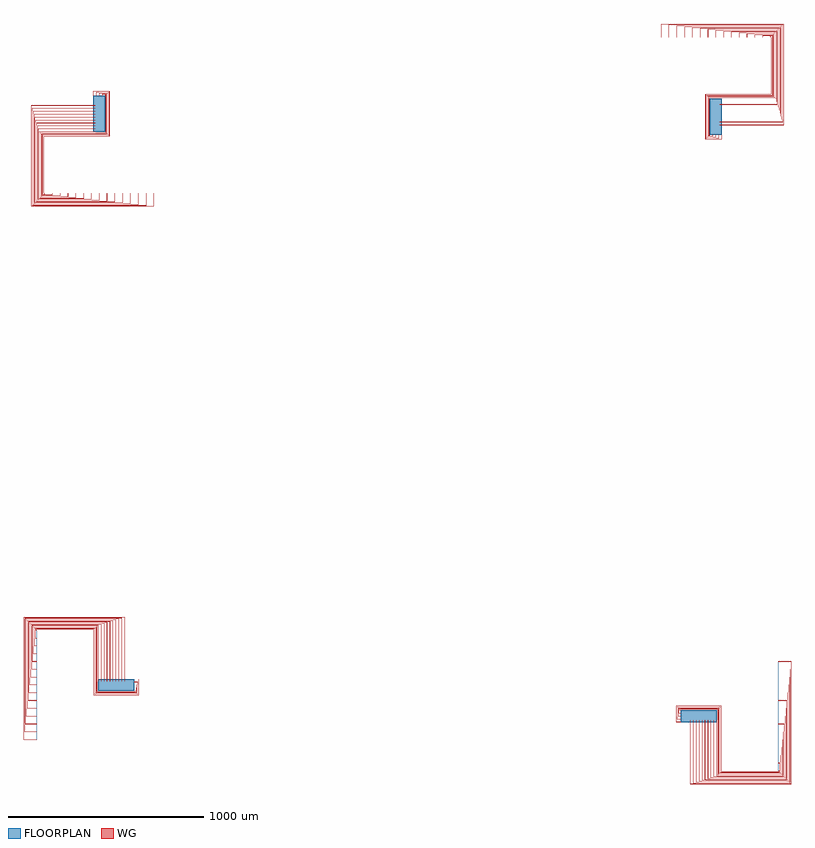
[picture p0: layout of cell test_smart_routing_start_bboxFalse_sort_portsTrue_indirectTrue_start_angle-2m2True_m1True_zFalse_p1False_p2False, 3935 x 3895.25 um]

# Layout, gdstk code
import gdstk
lib = gdstk.Library(unit=1e-6, precision=1e-09)
def R(c, l, rs):  # rectangles x0, y0, x1, y1
    for r in rs: c.add(gdstk.rectangle(r[:2], r[2:], *l))
def P(c, l, *ps):  # polygons
    for p in ps: c.add(gdstk.Polygon(p, *l))
WG = (1, 0)
FLOORPLAN = (10, 0)

test_smart_routing_start = lib.new_cell('test_smart_routing_start_bboxFalse_sort_portsTrue_indirectTrue_start_angle-2m2True_m1True_zFalse_p1False_p2False')
P(test_smart_routing_start, WG, [(-427.75,2532.5),(-427.75,3050.25),(-100,3050.25),(-100,3049.75),(-427.25,3049.75),(-427.25,2533),(199.75,2533),(199.75,2600),(200.25,2600),(200.25,2532.5)],
  [(-423.25,2537),(-423.25,3035.25),(-100,3035.25),(-100,3034.75),(-422.75,3034.75),(-422.75,2537.5),(159.75,2537.5),(159.75,2600),(160.25,2600),(160.25,2537)],
  [(-418.75,2541.5),(-418.75,3020.25),(-100,3020.25),(-100,3019.75),(-418.25,3019.75),(-418.25,2542),(119.75,2542),(119.75,2600),(120.25,2600),(120.25,2541.5)],
  [(-414.25,2546),(-414.25,3005.25),(-100,3005.25),(-100,3004.75),(-413.75,3004.75),(-413.75,2546.5),(79.75,2546.5),(79.75,2600),(80.25,2600),(80.25,2546)],
  [(-409.75,2550.5),(-409.75,2990.25),(-100,2990.25),(-100,2989.75),(-409.25,2989.75),(-409.25,2551),(39.75,2551),(39.75,2600),(40.25,2600),(40.25,2550.5)],
  [(-405.25,2555),(-405.25,2975.25),(-100,2975.25),(-100,2974.75),(-404.75,2974.75),(-404.75,2555.5),(-0.25,2555.5),(-0.25,2600),(0.25,2600),(0.25,2555)],
  [(-400.75,2559.5),(-400.75,2960.25),(-100,2960.25),(-100,2959.75),(-400.25,2959.75),(-400.25,2560),(-40.25,2560),(-40.25,2600),(-39.75,2600),(-39.75,2559.5)],
  [(-396.25,2564),(-396.25,2945.25),(-100,2945.25),(-100,2944.75),(-395.75,2944.75),(-395.75,2564.5),(-80.25,2564.5),(-80.25,2600),(-79.75,2600),(-79.75,2564)],
  [(-391.75,2568.5),(-391.75,2930.25),(-100,2930.25),(-100,2929.75),(-391.25,2929.75),(-391.25,2569),(-120.25,2569),(-120.25,2600),(-119.75,2600),(-119.75,2568.5)],
  [(-387.25,2573),(-387.25,2915.25),(-100,2915.25),(-100,2914.75),(-386.75,2914.75),(-386.75,2573.5),(-160.25,2573.5),(-160.25,2600),(-159.75,2600),(-159.75,2573)],
  [(-382.75,2577.5),(-382.75,2910.75),(-45.75,2910.75),(-45.75,3104),(-49.75,3104),(-49.75,3100),(-50.25,3100),(-50.25,3104.5),(-45.25,3104.5),(-45.25,2910.25),(-382.25,2910.25),(-382.25,2578),(-200.25,2578),(-200.25,2600),(-199.75,2600),(-199.75,2577.5)],
  [(-378.25,2582),(-378.25,2906.25),(-41.25,2906.25),(-41.25,3108.5),(-64.75,3108.5),(-64.75,3100),(-65.25,3100),(-65.25,3109),(-40.75,3109),(-40.75,2905.75),(-377.75,2905.75),(-377.75,2582.5),(-240.25,2582.5),(-240.25,2600),(-239.75,2600),(-239.75,2582)],
  [(-373.75,2586.5),(-373.75,2901.75),(-36.75,2901.75),(-36.75,3113),(-79.75,3113),(-79.75,3100),(-80.25,3100),(-80.25,3113.5),(-36.25,3113.5),(-36.25,2901.25),(-373.25,2901.25),(-373.25,2587),(-280.25,2587),(-280.25,2600),(-279.75,2600),(-279.75,2586.5)],
  [(-369.25,2591),(-369.25,2897.25),(-32.25,2897.25),(-32.25,3117.5),(-94.75,3117.5),(-94.75,3100),(-95.25,3100),(-95.25,3118),(-31.75,3118),(-31.75,2896.75),(-368.75,2896.75),(-368.75,2591.5),(-320.25,2591.5),(-320.25,2600),(-319.75,2600),(-319.75,2591)],
  [(-364.75,2595.5),(-364.75,2892.75),(-27.75,2892.75),(-27.75,3122),(-109.75,3122),(-109.75,3100),(-110.25,3100),(-110.25,3122.5),(-27.25,3122.5),(-27.25,2892.25),(-364.25,2892.25),(-364.25,2596),(-360.25,2596),(-360.25,2600),(-359.75,2600),(-359.75,2595.5)],
  [(-467.5,-200.25),(-467.5,427.75),(50.25,427.75),(50.25,100),(49.75,100),(49.75,427.25),(-467,427.25),(-467,-199.75),(-400,-199.75),(-400,-200.25)],
  [(-463,-160.25),(-463,423.25),(35.25,423.25),(35.25,100),(34.75,100),(34.75,422.75),(-462.5,422.75),(-462.5,-159.75),(-400,-159.75),(-400,-160.25)],
  [(-458.5,-120.25),(-458.5,418.75),(20.25,418.75),(20.25,100),(19.75,100),(19.75,418.25),(-458,418.25),(-458,-119.75),(-400,-119.75),(-400,-120.25)],
  [(-454,-80.25),(-454,414.25),(5.25,414.25),(5.25,100),(4.75,100),(4.75,413.75),(-453.5,413.75),(-453.5,-79.75),(-400,-79.75),(-400,-80.25)],
  [(-449.5,-40.25),(-449.5,409.75),(-9.75,409.75),(-9.75,100),(-10.25,100),(-10.25,409.25),(-449,409.25),(-449,-39.75),(-400,-39.75),(-400,-40.25)],
  [(-445,-0.25),(-445,405.25),(-24.75,405.25),(-24.75,100),(-25.25,100),(-25.25,404.75),(-444.5,404.75),(-444.5,0.25),(-400,0.25),(-400,-0.25)],
  [(-440.5,39.75),(-440.5,400.75),(-39.75,400.75),(-39.75,100),(-40.25,100),(-40.25,400.25),(-440,400.25),(-440,40.25),(-400,40.25),(-400,39.75)],
  [(-436,79.75),(-436,396.25),(-54.75,396.25),(-54.75,100),(-55.25,100),(-55.25,395.75),(-435.5,395.75),(-435.5,80.25),(-400,80.25),(-400,79.75)],
  [(-70.25,100),(-70.25,391.25),(-431,391.25),(-431,120.25),(-400,120.25),(-400,119.75),(-431.5,119.75),(-431.5,391.75),(-69.75,391.75),(-69.75,100)],
  [(-85.25,100),(-85.25,386.75),(-426.5,386.75),(-426.5,160.25),(-400,160.25),(-400,159.75),(-427,159.75),(-427,387.25),(-84.75,387.25),(-84.75,100)],
  [(-89.75,45.25),(-89.75,382.25),(-422,382.25),(-422,200.25),(-400,200.25),(-400,199.75),(-422.5,199.75),(-422.5,382.75),(-89.25,382.75),(-89.25,45.75),(104,45.75),(104,49.75),(100,49.75),(100,50.25),(104.5,50.25),(104.5,45.25)],
  [(-94.25,40.75),(-94.25,377.75),(-417.5,377.75),(-417.5,240.25),(-400,240.25),(-400,239.75),(-418,239.75),(-418,378.25),(-93.75,378.25),(-93.75,41.25),(108.5,41.25),(108.5,64.75),(100,64.75),(100,65.25),(109,65.25),(109,40.75)],
  [(-98.75,36.25),(-98.75,373.25),(-413,373.25),(-413,280.25),(-400,280.25),(-400,279.75),(-413.5,279.75),(-413.5,373.75),(-98.25,373.75),(-98.25,36.75),(113,36.75),(113,79.75),(100,79.75),(100,80.25),(113.5,80.25),(113.5,36.25)],
  [(-103.25,31.75),(-103.25,368.75),(-408.5,368.75),(-408.5,320.25),(-400,320.25),(-400,319.75),(-409,319.75),(-409,369.25),(-102.75,369.25),(-102.75,32.25),(117.5,32.25),(117.5,94.75),(100,94.75),(100,95.25),(118,95.25),(118,31.75)],
  [(-107.75,27.25),(-107.75,364.25),(-404,364.25),(-404,360.25),(-400,360.25),(-400,359.75),(-404.5,359.75),(-404.5,364.75),(-107.25,364.75),(-107.25,27.75),(122,27.75),(122,109.75),(100,109.75),(100,110.25),(122.5,110.25),(122.5,27.25)],
  [(2949.75,-427.75),(2949.75,-100),(2950.25,-100),(2950.25,-427.25),(3467,-427.25),(3467,199.75),(3400,199.75),(3400,200.25),(3467.5,200.25),(3467.5,-427.75)],
  [(2964.75,-423.25),(2964.75,-100),(2965.25,-100),(2965.25,-422.75),(3462.5,-422.75),(3462.5,159.75),(3400,159.75),(3400,160.25),(3463,160.25),(3463,-423.25)],
  [(2979.75,-418.75),(2979.75,-100),(2980.25,-100),(2980.25,-418.25),(3458,-418.25),(3458,119.75),(3400,119.75),(3400,120.25),(3458.5,120.25),(3458.5,-418.75)],
  [(2994.75,-414.25),(2994.75,-100),(2995.25,-100),(2995.25,-413.75),(3453.5,-413.75),(3453.5,79.75),(3400,79.75),(3400,80.25),(3454,80.25),(3454,-414.25)],
  [(3009.75,-409.75),(3009.75,-100),(3010.25,-100),(3010.25,-409.25),(3449,-409.25),(3449,39.75),(3400,39.75),(3400,40.25),(3449.5,40.25),(3449.5,-409.75)],
  [(3024.75,-405.25),(3024.75,-100),(3025.25,-100),(3025.25,-404.75),(3444.5,-404.75),(3444.5,-0.25),(3400,-0.25),(3400,0.25),(3445,0.25),(3445,-405.25)],
  [(3039.75,-400.75),(3039.75,-100),(3040.25,-100),(3040.25,-400.25),(3440,-400.25),(3440,-40.25),(3400,-40.25),(3400,-39.75),(3440.5,-39.75),(3440.5,-400.75)],
  [(3054.75,-396.25),(3054.75,-100),(3055.25,-100),(3055.25,-395.75),(3435.5,-395.75),(3435.5,-80.25),(3400,-80.25),(3400,-79.75),(3436,-79.75),(3436,-396.25)],
  [(3069.75,-391.75),(3069.75,-100),(3070.25,-100),(3070.25,-391.25),(3431,-391.25),(3431,-120.25),(3400,-120.25),(3400,-119.75),(3431.5,-119.75),(3431.5,-391.75)],
  [(3084.75,-387.25),(3084.75,-100),(3085.25,-100),(3085.25,-386.75),(3426.5,-386.75),(3426.5,-160.25),(3400,-160.25),(3400,-159.75),(3427,-159.75),(3427,-387.25)],
  [(3089.25,-382.75),(3089.25,-45.75),(2896,-45.75),(2896,-49.75),(2900,-49.75),(2900,-50.25),(2895.5,-50.25),(2895.5,-45.25),(3089.75,-45.25),(3089.75,-382.25),(3422,-382.25),(3422,-200.25),(3400,-200.25),(3400,-199.75),(3422.5,-199.75),(3422.5,-382.75)],
  [(3093.75,-378.25),(3093.75,-41.25),(2891.5,-41.25),(2891.5,-64.75),(2900,-64.75),(2900,-65.25),(2891,-65.25),(2891,-40.75),(3094.25,-40.75),(3094.25,-377.75),(3417.5,-377.75),(3417.5,-240.25),(3400,-240.25),(3400,-239.75),(3418,-239.75),(3418,-378.25)],
  [(3098.25,-373.75),(3098.25,-36.75),(2887,-36.75),(2887,-79.75),(2900,-79.75),(2900,-80.25),(2886.5,-80.25),(2886.5,-36.25),(3098.75,-36.25),(3098.75,-373.25),(3413,-373.25),(3413,-280.25),(3400,-280.25),(3400,-279.75),(3413.5,-279.75),(3413.5,-373.75)],
  [(3102.75,-369.25),(3102.75,-32.25),(2882.5,-32.25),(2882.5,-94.75),(2900,-94.75),(2900,-95.25),(2882,-95.25),(2882,-31.75),(3103.25,-31.75),(3103.25,-368.75),(3408.5,-368.75),(3408.5,-320.25),(3400,-320.25),(3400,-319.75),(3409,-319.75),(3409,-369.25)],
  [(3107.25,-364.75),(3107.25,-27.75),(2878,-27.75),(2878,-109.75),(2900,-109.75),(2900,-110.25),(2877.5,-110.25),(2877.5,-27.25),(3107.75,-27.25),(3107.75,-364.25),(3404,-364.25),(3404,-360.25),(3400,-360.25),(3400,-359.75),(3404.5,-359.75),(3404.5,-364.75)],
  [(3100,2949.75),(3100,2950.25),(3427.25,2950.25),(3427.25,3467),(2800.25,3467),(2800.25,3400),(2799.75,3400),(2799.75,3467.5),(3427.75,3467.5),(3427.75,2949.75)],
  [(3100,2964.75),(3100,2965.25),(3422.75,2965.25),(3422.75,3462.5),(2840.25,3462.5),(2840.25,3400),(2839.75,3400),(2839.75,3463),(3423.25,3463),(3423.25,2964.75)],
  [(3100,2979.75),(3100,2980.25),(3418.25,2980.25),(3418.25,3458),(2880.25,3458),(2880.25,3400),(2879.75,3400),(2879.75,3458.5),(3418.75,3458.5),(3418.75,2979.75)],
  [(3100,2994.75),(3100,2995.25),(3413.75,2995.25),(3413.75,3453.5),(2920.25,3453.5),(2920.25,3400),(2919.75,3400),(2919.75,3454),(3414.25,3454),(3414.25,2994.75)],
  [(3100,3009.75),(3100,3010.25),(3409.25,3010.25),(3409.25,3449),(2960.25,3449),(2960.25,3400),(2959.75,3400),(2959.75,3449.5),(3409.75,3449.5),(3409.75,3009.75)],
  [(3100,3024.75),(3100,3025.25),(3404.75,3025.25),(3404.75,3444.5),(3000.25,3444.5),(3000.25,3400),(2999.75,3400),(2999.75,3445),(3405.25,3445),(3405.25,3024.75)],
  [(3100,3039.75),(3100,3040.25),(3400.25,3040.25),(3400.25,3440),(3040.25,3440),(3040.25,3400),(3039.75,3400),(3039.75,3440.5),(3400.75,3440.5),(3400.75,3039.75)],
  [(3100,3054.75),(3100,3055.25),(3395.75,3055.25),(3395.75,3435.5),(3080.25,3435.5),(3080.25,3400),(3079.75,3400),(3079.75,3436),(3396.25,3436),(3396.25,3054.75)],
  [(3100,3069.75),(3100,3070.25),(3391.25,3070.25),(3391.25,3431),(3120.25,3431),(3120.25,3400),(3119.75,3400),(3119.75,3431.5),(3391.75,3431.5),(3391.75,3069.75)],
  [(3100,3084.75),(3100,3085.25),(3386.75,3085.25),(3386.75,3426.5),(3160.25,3426.5),(3160.25,3400),(3159.75,3400),(3159.75,3427),(3387.25,3427),(3387.25,3084.75)],
  [(3045.25,2895.5),(3045.25,3089.75),(3382.25,3089.75),(3382.25,3422),(3200.25,3422),(3200.25,3400),(3199.75,3400),(3199.75,3422.5),(3382.75,3422.5),(3382.75,3089.25),(3045.75,3089.25),(3045.75,2896),(3049.75,2896),(3049.75,2900),(3050.25,2900),(3050.25,2895.5)],
  [(3040.75,2891),(3040.75,3094.25),(3377.75,3094.25),(3377.75,3417.5),(3240.25,3417.5),(3240.25,3400),(3239.75,3400),(3239.75,3418),(3378.25,3418),(3378.25,3093.75),(3041.25,3093.75),(3041.25,2891.5),(3064.75,2891.5),(3064.75,2900),(3065.25,2900),(3065.25,2891)],
  [(3036.25,2886.5),(3036.25,3098.75),(3373.25,3098.75),(3373.25,3413),(3280.25,3413),(3280.25,3400),(3279.75,3400),(3279.75,3413.5),(3373.75,3413.5),(3373.75,3098.25),(3036.75,3098.25),(3036.75,2887),(3079.75,2887),(3079.75,2900),(3080.25,2900),(3080.25,2886.5)],
  [(3031.75,2882),(3031.75,3103.25),(3368.75,3103.25),(3368.75,3408.5),(3320.25,3408.5),(3320.25,3400),(3319.75,3400),(3319.75,3409),(3369.25,3409),(3369.25,3102.75),(3032.25,3102.75),(3032.25,2882.5),(3094.75,2882.5),(3094.75,2900),(3095.25,2900),(3095.25,2882)],
  [(3027.25,2877.5),(3027.25,3107.75),(3364.25,3107.75),(3364.25,3404),(3360.25,3404),(3360.25,3400),(3359.75,3400),(3359.75,3404.5),(3364.75,3404.5),(3364.75,3107.25),(3027.75,3107.25),(3027.75,2878),(3109.75,2878),(3109.75,2900),(3110.25,2900),(3110.25,2877.5)])
R(test_smart_routing_start, FLOORPLAN, [(2900,-110,3085,-50), (-85,50,100,110), (3050,2900,3110,3085), (-110,2915,-50,3100)])
P(test_smart_routing_start, FLOORPLAN, [(-400,-200),(-400,360),(-400,360),(-400,-200)],
  [(-360,2600),(-360,2600),(200,2600),(200,2600)],
  [(3400,-360),(3400,200),(3400,200),(3400,-360)],
  [(2800,3400),(2800,3400),(3360,3400),(3360,3400)])

lib.write_gds('test_smart_routing_start_bboxFalse_sort_portsTrue_indirectTrue_start_angle-2m2True_m1True_zFalse_p1False_p2False.gds')
